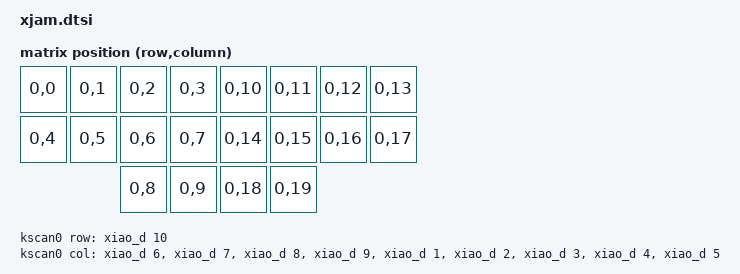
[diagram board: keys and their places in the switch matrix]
/*
 * Copyright (c) 2022 The ZMK Contributors
 *
 * SPDX-License-Identifier: MIT
 */

#include <dt-bindings/zmk/matrix_transform.h>

/ {
    chosen {
        zmk,kscan = &kscan0;
        zmk,matrix_transform = &default_transform;
	/delete-property/ zephyr,console;
	/delete-property/ zephyr,shell-uart;
    };

    default_transform: keymap_transform_0 {
        compatible = "zmk,matrix-transform";
        columns = <10>;
        rows = <0>;
        map = <
        RC(0,0)  RC(0,1)  RC(0,2)  RC(0,3)      RC(0,10) RC(0,11) RC(0,12) RC(0,13) 
		RC(0,4)  RC(0,5)  RC(0,6)  RC(0,7)      RC(0,14) RC(0,15) RC(0,16) RC(0,17) 
        		          RC(0,8)  RC(0,9)      RC(0,18) RC(0,19)   
        >;
    };


    kscan0: kscan_0 {
        compatible = "zmk,kscan-gpio-matrix";
        label = "KSCAN";
        diode-direction = "col2row";

        col-gpios
            = <&xiao_d 6 (GPIO_ACTIVE_HIGH | GPIO_PULL_DOWN)>
            , <&xiao_d 7 (GPIO_ACTIVE_HIGH | GPIO_PULL_DOWN)>
            , <&xiao_d 8 (GPIO_ACTIVE_HIGH | GPIO_PULL_DOWN)>
            , <&xiao_d 9 (GPIO_ACTIVE_HIGH | GPIO_PULL_DOWN)>
            , <&xiao_d 1 (GPIO_ACTIVE_HIGH | GPIO_PULL_DOWN)>
            , <&xiao_d 2 (GPIO_ACTIVE_HIGH | GPIO_PULL_DOWN)>
            , <&xiao_d 3 (GPIO_ACTIVE_HIGH | GPIO_PULL_DOWN)>
            , <&xiao_d 4 (GPIO_ACTIVE_HIGH | GPIO_PULL_DOWN)>
            , <&xiao_d 5 (GPIO_ACTIVE_HIGH | GPIO_PULL_DOWN)>
            ;

        row-gpios
            = <&xiao_d 10 GPIO_ACTIVE_HIGH>
            ;
    };
    
};

&xiao_spi { status = "disabled"; };
&xiao_i2c { status = "disabled"; };
&xiao_serial { status = "disabled"; };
